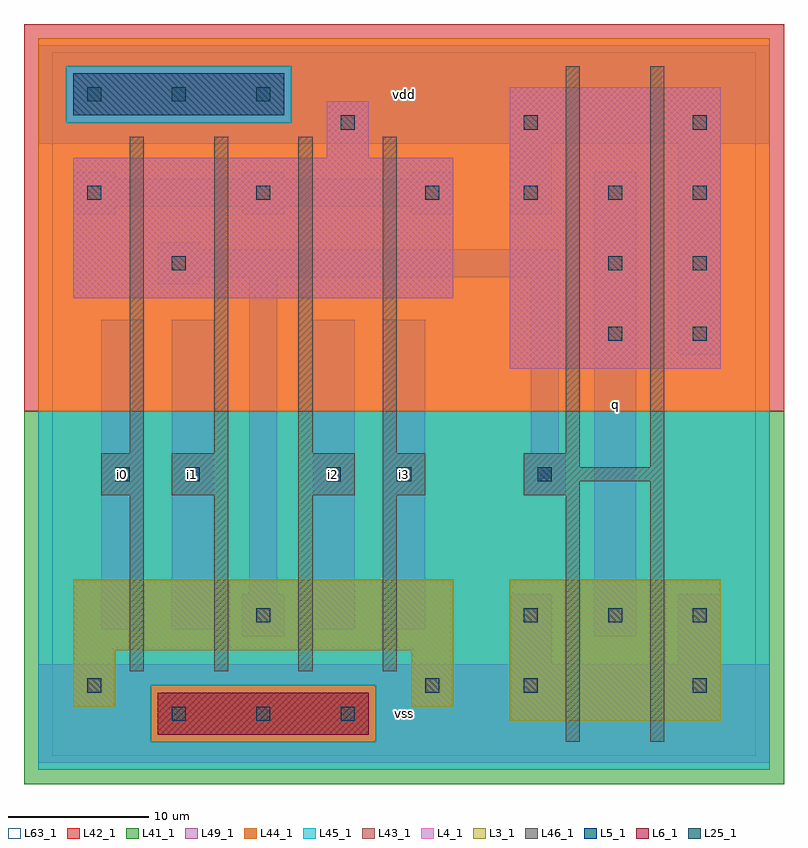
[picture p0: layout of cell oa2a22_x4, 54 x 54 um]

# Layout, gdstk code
import gdstk
lib = gdstk.Library(unit=1e-6, precision=1e-09)
def R(c, l, rs):  # rectangles x0, y0, x1, y1
    for r in rs: c.add(gdstk.rectangle(r[:2], r[2:], *l))
def A(c, l, x, y, w, h, nx, ny, dx, dy):  # array of equal rectangles
    R(c, l, [(x+i*dx, y+j*dy, x+i*dx+w, y+j*dy+h) for i in range(nx) for j in range(ny)])
L3_1 = (3, 1)
L4_1 = (4, 1)
L5_1 = (5, 1)
L6_1 = (6, 1)
L25_1 = (25, 1)
L41_1 = (41, 1)
L42_1 = (42, 1)
L43_1 = (43, 1)
L44_1 = (44, 1)
L45_1 = (45, 1)
L46_1 = (46, 1)
L49_1 = (49, 1)
L63_1 = (63, 1)

oa2a22_x4 = lib.new_cell('oa2a22_x4')
R(oa2a22_x4, L3_1, [(32.5,2.5,47.5,12.5), (1.5,3.5,4.5,7.5), (25.5,3.5,28.5,7.5), (1.5,7.5,28.5,12.5)])
R(oa2a22_x4, L4_1, [(32.5,27.5,47.5,47.5), (1.5,32.5,28.5,42.5), (19.5,42.5,22.5,46.5)])
R(oa2a22_x4, L5_1, [(1.5,45.5,16.5,48.5)])
R(oa2a22_x4, L6_1, [(7.5,1.5,22.5,4.5)])
A(oa2a22_x4, L25_1, 8.5, 2.5, 1, 1, 3, 1, 6, 0)
A(oa2a22_x4, L25_1, 33.5, 9.5, 1, 1, 3, 2, 6, 30)
A(oa2a22_x4, L25_1, 2.5, 39.5, 1, 1, 3, 1, 12, 0)
A(oa2a22_x4, L25_1, 2.5, 46.5, 1, 1, 3, 1, 6, 0)
R(oa2a22_x4, L25_1, [(2.5,4.5,3.5,5.5), (26.5,4.5,27.5,5.5), (33.5,4.5,34.5,5.5), (45.5,4.5,46.5,5.5), (14.5,9.5,15.5,10.5), (4.5,19.5,5.5,20.5), (9.5,19.5,10.5,20.5), (19.5,19.5,20.5,20.5), (24.5,19.5,25.5,20.5), (34.5,19.5,35.5,20.5), (39.5,29.5,40.5,30.5), (45.5,29.5,46.5,30.5), (8.5,34.5,9.5,35.5), (39.5,34.5,40.5,35.5), (45.5,34.5,46.5,35.5), (20.5,44.5,21.5,45.5), (33.5,44.5,34.5,45.5), (45.5,44.5,46.5,45.5)])
R(oa2a22_x4, L41_1, [(-2,-2,52,24.5)])
R(oa2a22_x4, L42_1, [(-2,24.5,52,52)])
R(oa2a22_x4, L43_1, [(7.5,1.5,22.5,4.5), (32.5,2.5,47.5,12.5), (1.5,3.5,4.5,7.5), (25.5,3.5,28.5,7.5), (1.5,7.5,28.5,12.5), (32.5,27.5,47.5,47.5), (1.5,32.5,28.5,42.5), (19.5,42.5,22.5,46.5), (1.5,45.5,16.5,48.5)])
R(oa2a22_x4, L44_1, [(7,1,23,5), (-1,24.5,51,45), (-1,45,1,49), (17,45,51,49), (-1,49,51,51)])
R(oa2a22_x4, L45_1, [(-1,-1,51,1), (-1,1,7,5), (23,1,51,5), (-1,5,51,24.5), (1,45,17,49)])
A(oa2a22_x4, L46_1, 5.5, 6, 1, 12.5, 4, 1, 6, 0)
A(oa2a22_x4, L46_1, 5.5, 21.5, 1, 22.5, 4, 1, 6, 0)
R(oa2a22_x4, L46_1, [(36.5,1,37.5,18.5), (42.5,1,43.5,19.5), (3.5,18.5,6.5,21.5), (8.5,18.5,12.5,21.5), (17.5,18.5,21.5,21.5), (23.5,18.5,26.5,21.5), (33.5,18.5,37.5,19.5), (33.5,19.5,43.5,20.5), (33.5,20.5,37.5,21.5), (42.5,20.5,43.5,49), (36.5,21.5,37.5,49)])
A(oa2a22_x4, L49_1, 1.5, 38.5, 3, 0.5, 3, 2, 12, 2.5)
R(oa2a22_x4, L49_1, [(-1,-0.5,51,6.5), (32.5,6.5,35.5,11.5), (44.5,6.5,47.5,11.5), (13.5,8.5,16.5,11.5), (38.5,8.5,41.5,41.5), (3.5,9,6.5,31), (8.5,9,11.5,31), (18.5,9,21.5,31), (23.5,9,26.5,31), (14,11.5,16,34), (33.5,18.5,36.5,21.5), (34,21.5,36,34), (44.5,28.5,47.5,43.5), (7.5,33.5,10.5,34), (7.5,34,36,36), (7.5,36,10.5,36.5), (32.5,38.5,35.5,43.5), (1.5,39,28.5,41), (-1,43.5,51,50.5)])
R(oa2a22_x4, L63_1, [(0,0,50,50)])
oa2a22_x4.add(gdstk.Label('i0', (5,20), layer=49, texttype=1))
oa2a22_x4.add(gdstk.Label('i1', (10,20), layer=49, texttype=1))
oa2a22_x4.add(gdstk.Label('i1', (10,20), layer=49, texttype=1))
oa2a22_x4.add(gdstk.Label('i0', (5,20), layer=49, texttype=1))
oa2a22_x4.add(gdstk.Label('i2', (20,20), layer=49, texttype=1))
oa2a22_x4.add(gdstk.Label('i2', (20,20), layer=49, texttype=1))
oa2a22_x4.add(gdstk.Label('vss', (25,3), layer=49, texttype=1))
oa2a22_x4.add(gdstk.Label('vss', (25,3), layer=49, texttype=1))
oa2a22_x4.add(gdstk.Label('i3', (25,20), layer=49, texttype=1))
oa2a22_x4.add(gdstk.Label('i3', (25,20), layer=49, texttype=1))
oa2a22_x4.add(gdstk.Label('vdd', (25,47), layer=49, texttype=1))
oa2a22_x4.add(gdstk.Label('vdd', (25,47), layer=49, texttype=1))
oa2a22_x4.add(gdstk.Label('q', (40,25), layer=49, texttype=1))
oa2a22_x4.add(gdstk.Label('q', (40,25), layer=49, texttype=1))

lib.write_gds('oa2a22_x4.gds')
